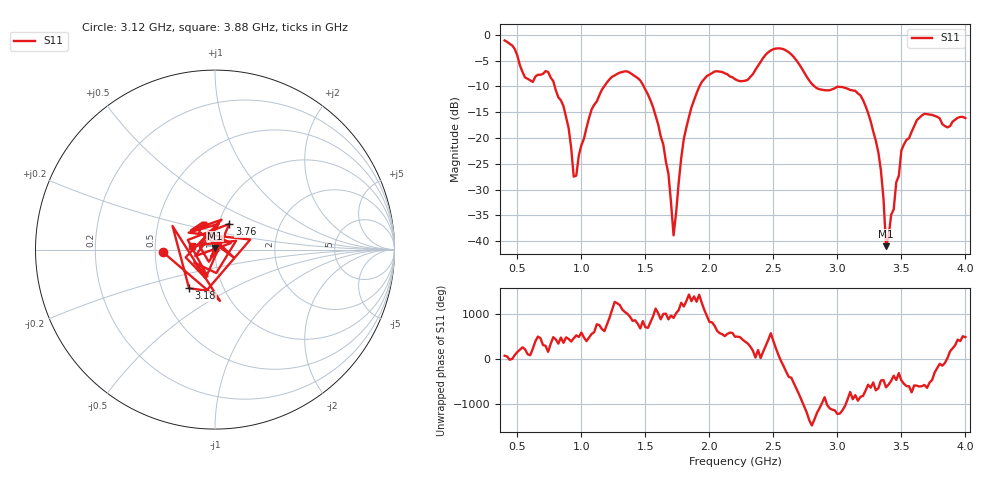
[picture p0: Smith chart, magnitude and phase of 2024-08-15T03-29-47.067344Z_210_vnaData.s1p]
!Created with skrf (http://scikit-rf.org).
# Hz S RI R 50.0
!freq ReS11 ImS11
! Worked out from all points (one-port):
!   181 points, 400 MHz to 4 GHz, reference 50 ohm
!   lowest |S11| = -41.0 dB at 3.38 GHz (marker M1), VSWR 1.02, Z = 50 + j0.896 ohm
!   |S11| at or under -10 dB: 791.6 MHz to 1.178 GHz (386.5 MHz wide, 39.2 % of centre); 1.487 GHz to 1.922 GHz (434.8 MHz wide, 25.5 % of centre); 2.822 GHz to end of sweep
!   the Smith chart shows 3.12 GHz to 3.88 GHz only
!   S11 on the Smith chart (normalised r, x): 3.12 GHz: 0.55, -0.02; 3.18 GHz: 0.69, -0.32; 3.76 GHz: 1.12, +0.33; 3.88 GHz: 0.77, +0.03
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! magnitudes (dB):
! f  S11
! 400 MHz  -1.1
! 560 MHz  -8.3
! 740 MHz  -7.2
! 860 MHz  -13.8
! 960 MHz  -27.3
! 1.08 GHz  -14.4
! 1.3 GHz  -7.3
! 1.56 GHz  -14.0
! 1.68 GHz  -26.9
! 1.72 GHz  -38.8
! 1.76 GHz  -28.7
! 1.82 GHz  -17.9
! 1.94 GHz  -9.1
! 2.2 GHz  -8.6
! 2.5 GHz  -2.8
! 2.66 GHz  -4.3
! 2.84 GHz  -10.3
! 3.1 GHz  -10.7
! 3.12 GHz  -10.8
! 3.18 GHz  -11.7
! 3.32 GHz  -22.8
! 3.36 GHz  -31.7
! 3.38 GHz  -41.0
! 3.5 GHz  -22.4
! 3.56 GHz  -20.0
! 3.76 GHz  -15.7
! 3.88 GHz  -17.7
! 4 GHz  -16.1
